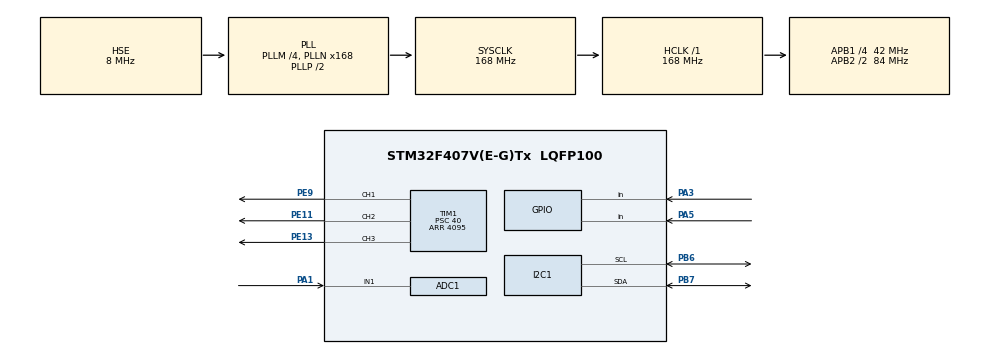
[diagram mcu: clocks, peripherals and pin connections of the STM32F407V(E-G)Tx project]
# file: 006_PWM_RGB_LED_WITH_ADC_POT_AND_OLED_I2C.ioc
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ADC1.Channel-0\#ChannelRegularConversion=ADC_CHANNEL_1
ADC1.ContinuousConvMode=ENABLE
ADC1.NbrOfConversionFlag=1
ADC1.Rank-0\#ChannelRegularConversion=1
ADC1.SamplingTime-0\#ChannelRegularConversion=ADC_SAMPLETIME_3CYCLES
ADC1.master=1
I2C1.I2C_Mode=I2C_Fast
Mcu.Family=STM32F4
Mcu.Name=STM32F407V(E-G)Tx
Mcu.Package=LQFP100
NVIC.PriorityGroup=NVIC_PRIORITYGROUP_4
PA1.Signal=ADCx_IN1
PA3.GPIO_PuPd=GPIO_PULLDOWN
PA3.Signal=GPIO_Input
PA5.GPIO_PuPd=GPIO_PULLDOWN
PA5.Signal=GPIO_Input
PB6.Mode=I2C
PB6.Signal=I2C1_SCL
PB7.Mode=I2C
PB7.Signal=I2C1_SDA
PE11.Signal=S_TIM1_CH2
PE13.Signal=S_TIM1_CH3
PE9.Signal=S_TIM1_CH1
PH0-OSC_IN.Mode=HSE-External-Oscillator
PH0-OSC_IN.Signal=RCC_OSC_IN
PH1-OSC_OUT.Mode=HSE-External-Oscillator
PH1-OSC_OUT.Signal=RCC_OSC_OUT
ProjectManager.HeapSize=0x200
ProjectManager.StackSize=0x400
ProjectManager.TargetToolchain=STM32CubeIDE
RCC.48MHZClocksFreq_Value=84000000
RCC.AHBFreq_Value=168000000
RCC.APB1CLKDivider=RCC_HCLK_DIV4
RCC.APB1Freq_Value=42000000
RCC.APB1TimFreq_Value=84000000
RCC.APB2CLKDivider=RCC_HCLK_DIV2
RCC.APB2Freq_Value=84000000
RCC.APB2TimFreq_Value=168000000
RCC.CortexFreq_Value=168000000
RCC.HCLKFreq_Value=168000000
RCC.HSE_VALUE=8000000
RCC.HSI_VALUE=16000000
RCC.LSE_VALUE=32768
RCC.PLLM=4
RCC.PLLN=168
RCC.PLLSourceVirtual=RCC_PLLSOURCE_HSE
RCC.SYSCLKFreq_VALUE=168000000
RCC.SYSCLKSource=RCC_SYSCLKSOURCE_PLLCLK
RCC.VCOOutputFreq_Value=336000000
SH.ADCx_IN1.0=ADC1_IN1,IN1
SH.S_TIM1_CH1.0=TIM1_CH1,PWM Generation1 CH1
SH.S_TIM1_CH2.0=TIM1_CH2,PWM Generation2 CH2
SH.S_TIM1_CH3.0=TIM1_CH3,PWM Generation3 CH3
TIM1.Channel-PWM\ Generation1\ CH1=TIM_CHANNEL_1
TIM1.Channel-PWM\ Generation2\ CH2=TIM_CHANNEL_2
TIM1.Channel-PWM\ Generation3\ CH3=TIM_CHANNEL_3
TIM1.Period=4095
TIM1.Prescaler=40
VP_TIM1_VS_ClockSourceINT.Mode=Internal
board=custom

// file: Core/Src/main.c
/* USER CODE BEGIN Header */
/**
  ******************************************************************************
  * @file           : main.c
  * @brief          : Main program body
  ******************************************************************************
  * @attention
  *
  * Copyright (c) 2023 STMicroelectronics.
  * All rights reserved.
  *
  * This software is licensed under terms that can be found in the LICENSE file
  * in the root directory of this software component.
  * If no LICENSE file comes with this software, it is provided AS-IS.
  *
  ******************************************************************************
  */
/* USER CODE END Header */
#include "main.h"

/* USER CODE BEGIN Includes */

#include "ssd1306.h"
#include "ssd1306_fonts.h"
#include "stdio.h"

// #include "main.h"

/* USER CODE END Includes */

ADC_HandleTypeDef hadc1;

I2C_HandleTypeDef hi2c1;

TIM_HandleTypeDef htim1;

/* USER CODE BEGIN PV */

uint16_t adc_value, adc_value_R, adc_value_G, adc_value_B, oled_R, oled_G, oled_B;
int count,color_sr;
char ret_string_1, ret_string_2;
char string_1[] = "Mucahit";
char string_2[] = "Ozturk";
char str_RGB[15];

/* USER CODE END PV */

void SystemClock_Config(void);
static void MX_GPIO_Init(void);
static void MX_ADC1_Init(void);
static void MX_I2C1_Init(void);
static void MX_TIM1_Init(void);

int main(void)
{

  /* MCU Configuration--------------------------------------------------------*/

  /* Reset of all peripherals, Initializes the Flash interface and the Systick. */
  HAL_Init();

  /* Configure the system clock */
  SystemClock_Config();

  /* Initialize all configured peripherals */
  MX_GPIO_Init();
  MX_ADC1_Init();
  MX_I2C1_Init();
  MX_TIM1_Init();
  /* USER CODE BEGIN 2 */
  ssd1306_Init();

  HAL_TIM_PWM_Start(&htim1, TIM_CHANNEL_1);		// R Channel Start
  HAL_TIM_PWM_Start(&htim1, TIM_CHANNEL_2);		// G Channel Start
  HAL_TIM_PWM_Start(&htim1, TIM_CHANNEL_3);		// B Channel Start
  adc_value = 0;								// With first energy ADC_value = 0
  adc_value_R = 0; adc_value_G = 0; adc_value_B = 0;
  oled_R = 0; oled_G = 0; oled_B = 0;
  count = 0;
  color_sr = 1;

/*  ssd1306_Init();															// ssd1306 initialize.
  ssd1306_Fill(White);														// Fill the display with white colour.
  ssd1306_SetCursor(10, 5);													// Set the cursor x and y axis for 128x64 Oled display.
  ret_string_1 = ssd1306_WriteString(string_1, Font_11x18, Black);			// Write the string_1 to ret_string_1 char.
  ssd1306_SetCursor(10, 25);
  ret_string_2 = ssd1306_WriteString(string_2, Font_11x18, Black);
  ssd1306_UpdateScreen();*/													// It must be use for work with Oled display.

  /* USER CODE END 2 */

  /* Infinite loop */
  while (1)
  {

    /* USER CODE BEGIN 3 */

	  HAL_ADC_Start(&hadc1);								// Start the ADC1.
	  HAL_ADC_PollForConversion(&hadc1, HAL_MAX_DELAY); 	// Using ADC with polling mode.
//	  adc_value = HAL_ADC_GetValue(&hadc1);					// Get the ADC value in polling mode.

	  if (HAL_GPIO_ReadPin(GPIOA, GPIO_PIN_5)){				// Push the button_2
		  color_sr = 2;
	  }

/****  Asagida belirtilen kosul sadece button_2 kosulundan önce belirtilmis olsaydi c program akış hiyerarşisi ve calisma hizinden dolayı belirtilen islem gerceklesmezdi  ****/
	  if ((HAL_GPIO_ReadPin(GPIOA, GPIO_PIN_3)) && (HAL_GPIO_ReadPin(GPIOA, GPIO_PIN_5))){		//  Push both of the buttons (button_1 + button_2)
		  ssd1306_Fill(Black);
		  color_sr = 1;
	  }

	  switch (color_sr)
	  {
	  case 1:
		  if (HAL_GPIO_ReadPin(GPIOA, GPIO_PIN_3)){				// GPIOA_Pin_3 == 1 it means if you push button_1, runing in this if function.
			  HAL_Delay(200);									// Added delay function for count value increase one by one.
			  count ++;
		  }

		  if (count%3 == 0){													// Case 1 => Set the Red colour.
	  		  adc_value_R = HAL_ADC_GetValue(&hadc1);
	  		  __HAL_TIM_SET_COMPARE(&htim1, TIM_CHANNEL_1, adc_value_R);		// Write the value in TIM_PWM_Ch1
	  		  __HAL_TIM_SET_COMPARE(&htim1, TIM_CHANNEL_2, adc_value_G);		// Write the value in TIM_PWM_Ch1
	  		  __HAL_TIM_SET_COMPARE(&htim1, TIM_CHANNEL_3, adc_value_B);		// Write the value in TIM_PWM_Ch1
	  		  HAL_Delay(100);

	  		  ssd1306_Fill(Black);												// If don't use this the Oled display showing 2 digit value like 3 digit value. (10 is like 100)
	  		  oled_R = (adc_value_R*255) / 4095;								// oled_R value is in the range of 0-255
	  		  sprintf(str_RGB, "Red = %d", oled_R);								// Write in str_RGB
	  		  ssd1306_SetCursor(5,5);
	  		  ssd1306_WriteString(str_RGB, Font_11x18, White);
	  		  oled_G = (adc_value_G*255) / 4095;								// oled_G value is in the range of 0-255
	  		  sprintf(str_RGB, "Green = %d", oled_G);
	  		  ssd1306_SetCursor(5,25);
	  		  ssd1306_WriteString(str_RGB, Font_11x18, White);
	  		  oled_B = (adc_value_B*255) / 4095;								// oled_B value is in the range of 0-255
	  		  sprintf(str_RGB, "Blue = %d", oled_B);
	  		  ssd1306_SetCursor(5,45);
	  		  ssd1306_WriteString(str_RGB, Font_11x18, White);
	  		  ssd1306_UpdateScreen();
		  	  }

		  else if (count%3 == 1){												// Case 2 => Set the Green colour.
	  		  adc_value_G = HAL_ADC_GetValue(&hadc1);
	  		  __HAL_TIM_SET_COMPARE(&htim1, TIM_CHANNEL_1, adc_value_R);		// Write the value in TIM_PWM_Ch1
	  		  __HAL_TIM_SET_COMPARE(&htim1, TIM_CHANNEL_2, adc_value_G);		// Write the value in TIM_PWM_Ch1
	  		  __HAL_TIM_SET_COMPARE(&htim1, TIM_CHANNEL_3, adc_value_B);		// Write the value in TIM_PWM_Ch1
	  		  HAL_Delay(100);

	  		  ssd1306_Fill(Black);
	  		  oled_R = (adc_value_R*255) / 4095;								// oled_R value is in the range of 0-255
	  		  sprintf(str_RGB, "Red = %d", oled_R);								// Write in str_RGB
	  		  ssd1306_SetCursor(5,5);
	  		  ssd1306_WriteString(str_RGB, Font_11x18, White);
	  		  oled_G = (adc_value_G*255) / 4095;								// oled_G value is in the range of 0-255
	  		  sprintf(str_RGB, "Green = %d", oled_G);
	  		  ssd1306_SetCursor(5,25);
	  		  ssd1306_WriteString(str_RGB, Font_11x18, White);
	  		  oled_B = (adc_value_B*255) / 4095;								// oled_B value is in the range of 0-255
	  		  sprintf(str_RGB, "Blue = %d", oled_B);
	  		  ssd1306_SetCursor(5,45);
	  		  ssd1306_WriteString(str_RGB, Font_11x18, White);
	  		  ssd1306_UpdateScreen();
		  	  }

		  else if (count%3 == 2){												// Case 3 => Set the Blue colour.
	  		  adc_value_B = HAL_ADC_GetValue(&hadc1);
	  		  __HAL_TIM_SET_COMPARE(&htim1, TIM_CHANNEL_1, adc_value_R);		// Write the value in TIM_PWM_Ch1
	  		  __HAL_TIM_SET_COMPARE(&htim1, TIM_CHANNEL_2, adc_value_G);		// Write the value in TIM_PWM_Ch1
	  		  __HAL_TIM_SET_COMPARE(&htim1, TIM_CHANNEL_3, adc_value_B);		// Write the value in TIM_PWM_Ch1
	  		  HAL_Delay(100);

	  		  ssd1306_Fill(Black);
	  		  oled_R = (adc_value_R*255) / 4095;								// oled_R value is in the range of 0-255
	  		  sprintf(str_RGB, "Red = %d", oled_R);								// Write in str_RGB
	  		  ssd1306_SetCursor(5,5);
	  		  ssd1306_WriteString(str_RGB, Font_11x18, White);
	  		  oled_G = (adc_value_G*255) / 4095;								// oled_G value is in the range of 0-255
	  		  sprintf(str_RGB, "Green = %d", oled_G);
	  		  ssd1306_SetCursor(5,25);
	  		  ssd1306_WriteString(str_RGB, Font_11x18, White);
	  		  oled_B = (adc_value_B*255) / 4095;								// oled_B value is in the range of 0-255
	  		  sprintf(str_RGB, "Blue = %d", oled_B);
	  		  ssd1306_SetCursor(5,45);
	  		  ssd1306_WriteString(str_RGB, Font_11x18, White);
	  		  ssd1306_UpdateScreen();
		  	  }

	  break;

	  case 2:
		  __HAL_TIM_SET_COMPARE(&htim1, TIM_CHANNEL_1, adc_value_R);			// Write the value in TIM_PWM_Ch1
		  __HAL_TIM_SET_COMPARE(&htim1, TIM_CHANNEL_2, adc_value_G);			// Write the value in TIM_PWM_Ch1
		  __HAL_TIM_SET_COMPARE(&htim1, TIM_CHANNEL_3, adc_value_B);			// Write the value in TIM_PWM_Ch1
		  HAL_Delay(10);

		  ssd1306_Fill(White);
		  oled_R = (adc_value_R*255) / 4095;								// oled_R value is in the range of 0-255
		  sprintf(str_RGB, "Red = %d", oled_R);								// Write in str_RGB
		  ssd1306_SetCursor(5,5);
		  ssd1306_WriteString(str_RGB, Font_11x18, Black);
		  oled_G = (adc_value_G*255) / 4095;								// oled_G value is in the range of 0-255
		  sprintf(str_RGB, "Green = %d", oled_G);
		  ssd1306_SetCursor(5,25);
		  ssd1306_WriteString(str_RGB, Font_11x18, Black);
		  oled_B = (adc_value_B*255) / 4095;								// oled_B value is in the range of 0-255
		  sprintf(str_RGB, "Blue = %d", oled_B);
		  ssd1306_SetCursor(5,45);
		  ssd1306_WriteString(str_RGB, Font_11x18, Black);
		  ssd1306_UpdateScreen();

	  break;
	  }

  }
  /* USER CODE END 3 */
}

void SystemClock_Config(void)
{
  RCC_OscInitTypeDef RCC_OscInitStruct = {0};
  RCC_ClkInitTypeDef RCC_ClkInitStruct = {0};

  /** Configure the main internal regulator output voltage
  */
  __HAL_RCC_PWR_CLK_ENABLE();
  __HAL_PWR_VOLTAGESCALING_CONFIG(PWR_REGULATOR_VOLTAGE_SCALE1);

  /** Initializes the RCC Oscillators according to the specified parameters
  * in the RCC_OscInitTypeDef structure.
  */
  RCC_OscInitStruct.OscillatorType = RCC_OSCILLATORTYPE_HSE;
  RCC_OscInitStruct.HSEState = RCC_HSE_ON;
  RCC_OscInitStruct.PLL.PLLState = RCC_PLL_ON;
  RCC_OscInitStruct.PLL.PLLSource = RCC_PLLSOURCE_HSE;
  RCC_OscInitStruct.PLL.PLLM = 4;
  RCC_OscInitStruct.PLL.PLLN = 168;
  RCC_OscInitStruct.PLL.PLLP = RCC_PLLP_DIV2;
  RCC_OscInitStruct.PLL.PLLQ = 4;
  if (HAL_RCC_OscConfig(&RCC_OscInitStruct) != HAL_OK)
  {
    Error_Handler();
  }

  /** Initializes the CPU, AHB and APB buses clocks
  */
  RCC_ClkInitStruct.ClockType = RCC_CLOCKTYPE_HCLK|RCC_CLOCKTYPE_SYSCLK
                              |RCC_CLOCKTYPE_PCLK1|RCC_CLOCKTYPE_PCLK2;
  RCC_ClkInitStruct.SYSCLKSource = RCC_SYSCLKSOURCE_PLLCLK;
  RCC_ClkInitStruct.AHBCLKDivider = RCC_SYSCLK_DIV1;
  RCC_ClkInitStruct.APB1CLKDivider = RCC_HCLK_DIV4;
  RCC_ClkInitStruct.APB2CLKDivider = RCC_HCLK_DIV2;

  if (HAL_RCC_ClockConfig(&RCC_ClkInitStruct, FLASH_LATENCY_5) != HAL_OK)
  {
    Error_Handler();
  }
}

static void MX_ADC1_Init(void)
{

  ADC_ChannelConfTypeDef sConfig = {0};

  /** Configure the global features of the ADC (Clock, Resolution, Data Alignment and number of conversion)
  */
  hadc1.Instance = ADC1;
  hadc1.Init.ClockPrescaler = ADC_CLOCK_SYNC_PCLK_DIV4;
  hadc1.Init.Resolution = ADC_RESOLUTION_12B;
  hadc1.Init.ScanConvMode = DISABLE;
  hadc1.Init.ContinuousConvMode = ENABLE;
  hadc1.Init.DiscontinuousConvMode = DISABLE;
  hadc1.Init.ExternalTrigConvEdge = ADC_EXTERNALTRIGCONVEDGE_NONE;
  hadc1.Init.ExternalTrigConv = ADC_SOFTWARE_START;
  hadc1.Init.DataAlign = ADC_DATAALIGN_RIGHT;
  hadc1.Init.NbrOfConversion = 1;
  hadc1.Init.DMAContinuousRequests = DISABLE;
  hadc1.Init.EOCSelection = ADC_EOC_SINGLE_CONV;
  if (HAL_ADC_Init(&hadc1) != HAL_OK)
  {
    Error_Handler();
  }

  /** Configure for the selected ADC regular channel its corresponding rank in the sequencer and its sample time.
  */
  sConfig.Channel = ADC_CHANNEL_1;
  sConfig.Rank = 1;
  sConfig.SamplingTime = ADC_SAMPLETIME_3CYCLES;
  if (HAL_ADC_ConfigChannel(&hadc1, &sConfig) != HAL_OK)
  {
    Error_Handler();
  }

}

static void MX_I2C1_Init(void)
{

  hi2c1.Instance = I2C1;
  hi2c1.Init.ClockSpeed = 400000;
  hi2c1.Init.DutyCycle = I2C_DUTYCYCLE_2;
  hi2c1.Init.OwnAddress1 = 0;
  hi2c1.Init.AddressingMode = I2C_ADDRESSINGMODE_7BIT;
  hi2c1.Init.DualAddressMode = I2C_DUALADDRESS_DISABLE;
  hi2c1.Init.OwnAddress2 = 0;
  hi2c1.Init.GeneralCallMode = I2C_GENERALCALL_DISABLE;
  hi2c1.Init.NoStretchMode = I2C_NOSTRETCH_DISABLE;
  if (HAL_I2C_Init(&hi2c1) != HAL_OK)
  {
    Error_Handler();
  }

}

static void MX_TIM1_Init(void)
{

  TIM_ClockConfigTypeDef sClockSourceConfig = {0};
  TIM_MasterConfigTypeDef sMasterConfig = {0};
  TIM_OC_InitTypeDef sConfigOC = {0};
  TIM_BreakDeadTimeConfigTypeDef sBreakDeadTimeConfig = {0};

  htim1.Instance = TIM1;
  htim1.Init.Prescaler = 40;
  htim1.Init.CounterMode = TIM_COUNTERMODE_UP;
  htim1.Init.Period = 4095;
  htim1.Init.ClockDivision = TIM_CLOCKDIVISION_DIV1;
  htim1.Init.RepetitionCounter = 0;
  htim1.Init.AutoReloadPreload = TIM_AUTORELOAD_PRELOAD_DISABLE;
  if (HAL_TIM_Base_Init(&htim1) != HAL_OK)
  {
    Error_Handler();
  }
  sClockSourceConfig.ClockSource = TIM_CLOCKSOURCE_INTERNAL;
  if (HAL_TIM_ConfigClockSource(&htim1, &sClockSourceConfig) != HAL_OK)
  {
    Error_Handler();
  }
  if (HAL_TIM_PWM_Init(&htim1) != HAL_OK)
  {
    Error_Handler();
  }
  sMasterConfig.MasterOutputTrigger = TIM_TRGO_RESET;
  sMasterConfig.MasterSlaveMode = TIM_MASTERSLAVEMODE_DISABLE;
  if (HAL_TIMEx_MasterConfigSynchronization(&htim1, &sMasterConfig) != HAL_OK)
  {
    Error_Handler();
  }
  sConfigOC.OCMode = TIM_OCMODE_PWM1;
  sConfigOC.Pulse = 0;
  sConfigOC.OCPolarity = TIM_OCPOLARITY_HIGH;
  sConfigOC.OCNPolarity = TIM_OCNPOLARITY_HIGH;
  sConfigOC.OCFastMode = TIM_OCFAST_DISABLE;
  sConfigOC.OCIdleState = TIM_OCIDLESTATE_RESET;
  sConfigOC.OCNIdleState = TIM_OCNIDLESTATE_RESET;
  if (HAL_TIM_PWM_ConfigChannel(&htim1, &sConfigOC, TIM_CHANNEL_1) != HAL_OK)
  {
    Error_Handler();
  }
  if (HAL_TIM_PWM_ConfigChannel(&htim1, &sConfigOC, TIM_CHANNEL_2) != HAL_OK)
  {
    Error_Handler();
  }
  if (HAL_TIM_PWM_ConfigChannel(&htim1, &sConfigOC, TIM_CHANNEL_3) != HAL_OK)
  {
    Error_Handler();
  }
  sBreakDeadTimeConfig.OffStateRunMode = TIM_OSSR_DISABLE;
  sBreakDeadTimeConfig.OffStateIDLEMode = TIM_OSSI_DISABLE;
  sBreakDeadTimeConfig.LockLevel = TIM_LOCKLEVEL_OFF;
  sBreakDeadTimeConfig.DeadTime = 0;
  sBreakDeadTimeConfig.BreakState = TIM_BREAK_DISABLE;
  sBreakDeadTimeConfig.BreakPolarity = TIM_BREAKPOLARITY_HIGH;
  sBreakDeadTimeConfig.AutomaticOutput = TIM_AUTOMATICOUTPUT_DISABLE;
  if (HAL_TIMEx_ConfigBreakDeadTime(&htim1, &sBreakDeadTimeConfig) != HAL_OK)
  {
    Error_Handler();
  }
  HAL_TIM_MspPostInit(&htim1);

}

static void MX_GPIO_Init(void)
{
  GPIO_InitTypeDef GPIO_InitStruct = {0};

  /* GPIO Ports Clock Enable */
  __HAL_RCC_GPIOH_CLK_ENABLE();
  __HAL_RCC_GPIOA_CLK_ENABLE();
  __HAL_RCC_GPIOE_CLK_ENABLE();
  __HAL_RCC_GPIOB_CLK_ENABLE();

  /*Configure GPIO pins : PA3 PA5 */
  GPIO_InitStruct.Pin = GPIO_PIN_3|GPIO_PIN_5;
  GPIO_InitStruct.Mode = GPIO_MODE_INPUT;
  GPIO_InitStruct.Pull = GPIO_PULLDOWN;
  HAL_GPIO_Init(GPIOA, &GPIO_InitStruct);

}

void Error_Handler(void)
{
  __disable_irq();
  while (1)
  {
  }
}
